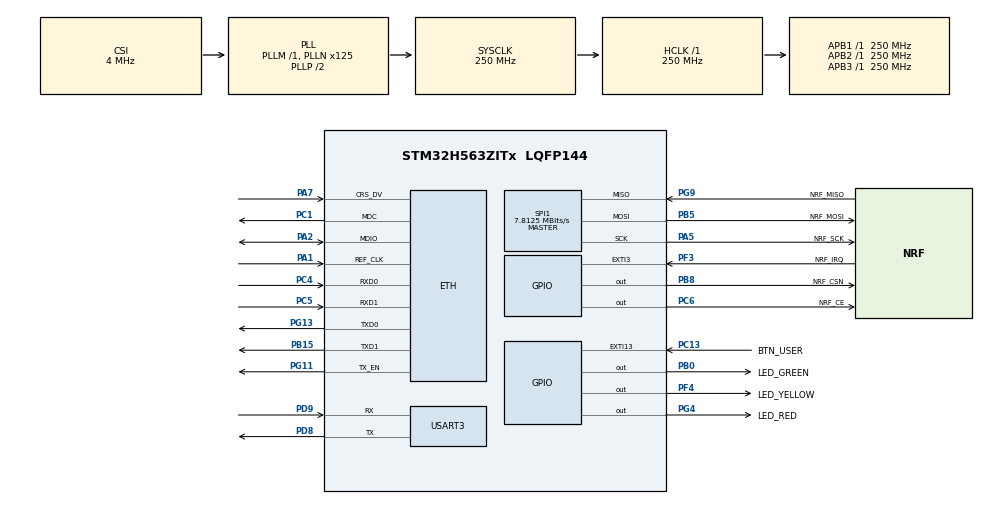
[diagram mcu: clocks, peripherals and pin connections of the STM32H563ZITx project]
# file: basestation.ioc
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CORTEX_M33_NS.userName=CORTEX_M33
ETH.MACAddr=00\:57\:00\:01\:33\:70
ETH.MediaInterface=HAL_ETH_RMII_MODE
Mcu.Family=STM32H5
Mcu.Name=STM32H563ZITx
Mcu.Package=LQFP144
NETXDUO.ETH_ON=1
NETXDUO.LAN_8742=1
NETXDUO.NX_APP_IP_INSTANCE_THREAD_SIZE=4 * 1024
NETXDUO.NX_APP_MEM_POOL_SIZE=30 * 1024
NETXDUO.NX_APP_THREAD_STACK_SIZE=2 * 1024
NETXDUO.NX_ENABLE_INTERFACE_CAPABILITY=true
NETXDUO.NetXDuo_Generate_Init_Code=true
NVIC.ETH_IRQn=true\:7\:0\:true\:false\:true\:false\:true\:true\:true
NVIC.EXTI13_IRQn=true\:7\:0\:true\:false\:true\:false\:true\:true\:true
NVIC.EXTI3_IRQn=true\:7\:0\:true\:false\:true\:false\:true\:true\:true
NVIC.PriorityGroup=NVIC_PRIORITYGROUP_4
NVIC.TIM6_IRQn=true\:15\:0\:false\:false\:true\:false\:false\:true\:true
NVIC.TimeBase=TIM6_IRQn
NVIC.TimeBaseIP=TIM6
NetXDuo.BSP.number=1
NetXDuo0.BSP.STBoard=false
NetXDuo0.BSP.api=BSP_COMPONENT_DRIVER
NetXDuo0.BSP.component=lan8742
NetXDuo0.BSP.instance=lan8742
NetXDuo0.BSP.name=LAN_Component
NetXDuo0.BSP.semaphore=SEMA_lan8742
NetXDuo0.BSP.solution=lan8742
PA1.Mode=RMII
PA1.Signal=ETH_REF_CLK
PA2.Mode=RMII
PA2.Signal=ETH_MDIO
PA5.GPIO_Label=NRF_SCK
PA5.Mode=Full_Duplex_Master
PA5.Signal=SPI1_SCK
PA7.Mode=RMII
PA7.Signal=ETH_CRS_DV
PB0.GPIO_Label=LED_GREEN
PB0.PinState=GPIO_PIN_SET
PB0.Signal=GPIO_Output
PB15.Mode=RMII
PB15.Signal=ETH_TXD1
PB5.GPIO_Label=NRF_MOSI
PB5.Mode=Full_Duplex_Master
PB5.Signal=SPI1_MOSI
PB8.GPIO_Label=NRF_CSN
PB8.Signal=GPIO_Output
PC1.Mode=RMII
PC1.Signal=ETH_MDC
PC13.GPIO_Label=BTN_USER
PC13.Signal=GPXTI13
PC4.Mode=RMII
PC4.Signal=ETH_RXD0
PC5.Mode=RMII
PC5.Signal=ETH_RXD1
PC6.GPIO_Label=NRF_CE
PC6.Signal=GPIO_Output
PD8.Mode=Asynchronous
PD8.Signal=USART3_TX
PD9.Mode=Asynchronous
PD9.Signal=USART3_RX
PF3.GPIO_Label=NRF_IRQ
PF3.GPIO_ModeDefaultEXTI=GPIO_MODE_IT_FALLING
PF3.Signal=GPXTI3
PF4.GPIO_Label=LED_YELLOW
PF4.Signal=GPIO_Output
PG11.Mode=RMII
PG11.Signal=ETH_TX_EN
PG13.Mode=RMII
PG13.Signal=ETH_TXD0
PG4.GPIO_Label=LED_RED
PG4.Signal=GPIO_Output
PG9.GPIO_Label=NRF_MISO
PG9.Mode=Full_Duplex_Master
PG9.Signal=SPI1_MISO
ProjectManager.HeapSize=0x200
ProjectManager.StackSize=0x1600
ProjectManager.TargetToolchain=STM32CubeIDE
RCC.ADCFreq_Value=250000000
RCC.AHBFreq_Value=250000000
RCC.APB1Freq_Value=250000000
RCC.APB1TimFreq_Value=250000000
RCC.APB2Freq_Value=250000000
RCC.APB2TimFreq_Value=250000000
RCC.APB3Freq_Value=250000000
RCC.CSI_VALUE=4000000
RCC.CortexFreq_Value=250000000
RCC.EPOD_VALUE=4000000
RCC.HCLKFreq_Value=250000000
RCC.HSE_VALUE=25000000
RCC.HSI48_VALUE=48000000
RCC.HSI_VALUE=64000000
RCC.LSE_VALUE=32768
RCC.LSIRC_VALUE=32000
RCC.PLL2FRACN=0
RCC.PLL3FRACN=0
RCC.PLLFRACN=0
RCC.PLLN=125
RCC.SYSCLKFreq_VALUE=250000000
RCC.SYSCLKSource=RCC_SYSCLKSOURCE_PLLCLK
RCC.USBFreq_Value=48000000
RCC.VCOOutputFreq_Value=500000000
SPI1.BaudRatePrescaler=SPI_BAUDRATEPRESCALER_32
SPI1.CalculateBaudRate=7.8125 MBits/s
SPI1.DataSize=SPI_DATASIZE_8BIT
SPI1.Direction=SPI_DIRECTION_2LINES
SPI1.Mode=SPI_MODE_MASTER
SPI1.NSSPMode=SPI_NSS_PULSE_ENABLE
SPI1.VirtualType=VM_MASTER
THREADX.TX_APP_GENERATE_INIT_CODE=true
THREADX.TX_APP_MEM_POOL_SIZE=4096
USART3.VirtualMode=VM_ASYNC
VP_BOOTPATH_VS_BOOTPATH.Mode=BP_Activate
VP_ICACHE_VS_ICACHE.Mode=DefaultMode
VP_MEMORYMAP_VS_MEMORYMAP.Mode=CurAppReg
VP_NETXDUO_VS_AddonsOoDHCP.Mode=Addons_DHCP_Client
VP_NETXDUO_VS_EthernetOoPhyOoInterface.Mode=LAN8742_Phy_Interface
VP_NETXDUO_VS_NXOoCore.Mode=NX_Core
VP_NETXDUO_VS_NetworkOoInterface.Mode=Ethernet_Interface
VP_PWR_VS_DBSignals.Mode=DisableDeadBatterySignals
VP_PWR_VS_LPOM.Mode=PowerOptimisation
VP_PWR_VS_SECSignals.Mode=Security/Privilege
VP_SYS_VS_tim6.Mode=TIM6
VP_THREADX_VS_RTOSJjThreadXJjCoreJjDefault.Mode=Core_Default
board=custom

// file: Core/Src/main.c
/* USER CODE BEGIN Header */
/**
 ******************************************************************************
 * @file           : main.c
 * @brief          : Main program body
 ******************************************************************************
 * @attention
 *
 * Copyright (c) 2023 STMicroelectronics.
 * All rights reserved.
 *
 * This software is licensed under terms that can be found in the LICENSE file
 * in the root directory of this software component.
 * If no LICENSE file comes with this software, it is provided AS-IS.
 *
 ******************************************************************************
 */
/* USER CODE END Header */
#include "main.h"
#include "app_threadx.h"
#include "string.h"

/* USER CODE BEGIN Includes */
#include "com.h"
#include "stdio.h"
#include <log.h>
/* USER CODE END Includes */

ETH_TxPacketConfig TxConfig;
ETH_DMADescTypeDef DMARxDscrTab[ETH_RX_DESC_CNT]; /* Ethernet Rx DMA Descriptors */
ETH_DMADescTypeDef DMATxDscrTab[ETH_TX_DESC_CNT]; /* Ethernet Tx DMA Descriptors */

ETH_HandleTypeDef heth;

SPI_HandleTypeDef hspi1;

UART_HandleTypeDef huart3;

/* USER CODE BEGIN PV */
static LOG_Module internal_log_mod;
/* USER CODE END PV */

void SystemClock_Config(void);
static void MX_GPIO_Init(void);
static void MX_MEMORYMAP_Init(void);
static void MX_ETH_Init(void);
static void MX_USART3_UART_Init(void);
static void MX_ICACHE_Init(void);
static void MX_SPI1_Init(void);

/* USER CODE BEGIN 0 */

void HAL_GPIO_EXTI_Rising_Callback(uint16_t GPIO_Pin)
{
    switch (GPIO_Pin) {
    case BTN_USER_Pin:
        tx_event_flags_set(&COM_RF_IRQ_Events, RF_EVENT_TEST, TX_OR);
        break;
    default:
        break;
    }
}

void HAL_GPIO_EXTI_Falling_Callback(uint16_t GPIO_Pin)
{
    switch (GPIO_Pin) {
    case NRF_IRQ_Pin:
        tx_event_flags_set(&COM_RF_IRQ_Events, RF_EVENT_IRQ, TX_OR);
        break;
    default:
        break;
    }
}

void IWDG_Init(void)
{
    /* Start the watchdog (this also turns the LSI on) */
    IWDG->KR = 0x0000CCCC;

    /* Enable write access to PR/RLR/WINR */
    IWDG->KR = 0x00005555;

    /* Prescaler 64: LSI 32 kHz / 64 = 500 Hz */
    IWDG->PR = IWDG_PR_PR_2;

    /* Reload 2000 -> ~4 s timeout */
    IWDG->RLR = 2000;

    /* Wait for PR/RLR updates to complete */
    while ((IWDG->SR & IWDG_SR_RVU) != 0) {
    }
    while ((IWDG->SR & (IWDG_SR_PVU | IWDG_SR_RVU | IWDG_SR_WVU)) != 0) {
    }

    /* Disable the window feature */
    IWDG->WINR = IWDG_WINR_WIN;

    /* Freeze the watchdog counter when the core is halted in debug */
    DBGMCU->APB1FZR1 |= DBGMCU_APB1FZR1_DBG_IWDG_STOP;
}

void IWDG_Feed(void)
{
    IWDG->KR = 0x0000AAAA;
}

/* USER CODE END 0 */

int main(void)
{

    /* MCU Configuration--------------------------------------------------------*/

    /* Reset of all peripherals, Initializes the Flash interface and the Systick. */
    HAL_Init();

    /* Configure the system clock */
    SystemClock_Config();

    /* Initialize all configured peripherals */
    MX_GPIO_Init();
    MX_MEMORYMAP_Init();
    MX_ETH_Init();
    MX_USART3_UART_Init();
    MX_ICACHE_Init();
    MX_SPI1_Init();
    /* USER CODE BEGIN 2 */
    IWDG_Init();
    LOG_Init(&huart3);
    LOG_InitModule(&internal_log_mod, "MAIN", LOG_LEVEL_INFO, 0);
    COM_RF_Init(&hspi1);
    LOG_INFO("Startup finished...\r\n");

    /* USER CODE END 2 */

    MX_ThreadX_Init();

    /* We should never get here as control is now taken by the scheduler */
    /* Infinite loop */
    while (1) {

    }
}

void SystemClock_Config(void)
{
    RCC_OscInitTypeDef RCC_OscInitStruct = {0};
    RCC_ClkInitTypeDef RCC_ClkInitStruct = {0};

    /** Configure the main internal regulator output voltage
     */
    __HAL_PWR_VOLTAGESCALING_CONFIG(PWR_REGULATOR_VOLTAGE_SCALE0);

    while (!__HAL_PWR_GET_FLAG(PWR_FLAG_VOSRDY)) {
    }

    /** Initializes the RCC Oscillators according to the specified parameters
     * in the RCC_OscInitTypeDef structure.
     */
    RCC_OscInitStruct.OscillatorType = RCC_OSCILLATORTYPE_CSI;
    RCC_OscInitStruct.CSIState = RCC_CSI_ON;
    RCC_OscInitStruct.CSICalibrationValue = RCC_CSICALIBRATION_DEFAULT;
    RCC_OscInitStruct.PLL.PLLState = RCC_PLL_ON;
    RCC_OscInitStruct.PLL.PLLSource = RCC_PLL1_SOURCE_CSI;
    RCC_OscInitStruct.PLL.PLLM = 1;
    RCC_OscInitStruct.PLL.PLLN = 125;
    RCC_OscInitStruct.PLL.PLLP = 2;
    RCC_OscInitStruct.PLL.PLLQ = 2;
    RCC_OscInitStruct.PLL.PLLR = 2;
    RCC_OscInitStruct.PLL.PLLRGE = RCC_PLL1_VCIRANGE_2;
    RCC_OscInitStruct.PLL.PLLVCOSEL = RCC_PLL1_VCORANGE_WIDE;
    RCC_OscInitStruct.PLL.PLLFRACN = 0;
    if (HAL_RCC_OscConfig(&RCC_OscInitStruct) != HAL_OK) {
        Error_Handler();
    }

    /** Initializes the CPU, AHB and APB buses clocks
     */
    RCC_ClkInitStruct.ClockType = RCC_CLOCKTYPE_HCLK | RCC_CLOCKTYPE_SYSCLK | RCC_CLOCKTYPE_PCLK1 | RCC_CLOCKTYPE_PCLK2 | RCC_CLOCKTYPE_PCLK3;
    RCC_ClkInitStruct.SYSCLKSource = RCC_SYSCLKSOURCE_PLLCLK;
    RCC_ClkInitStruct.AHBCLKDivider = RCC_SYSCLK_DIV1;
    RCC_ClkInitStruct.APB1CLKDivider = RCC_HCLK_DIV1;
    RCC_ClkInitStruct.APB2CLKDivider = RCC_HCLK_DIV1;
    RCC_ClkInitStruct.APB3CLKDivider = RCC_HCLK_DIV1;

    if (HAL_RCC_ClockConfig(&RCC_ClkInitStruct, FLASH_LATENCY_5) != HAL_OK) {
        Error_Handler();
    }
}

static void MX_ETH_Init(void)
{

    static uint8_t MACAddr[6];

    heth.Instance = ETH;
    MACAddr[0] = 0x00;
    MACAddr[1] = 0x57;
    MACAddr[2] = 0x00;
    MACAddr[3] = 0x01;
    MACAddr[4] = 0x33;
    MACAddr[5] = 0x70;
    heth.Init.MACAddr = &MACAddr[0];
    heth.Init.MediaInterface = HAL_ETH_RMII_MODE;
    heth.Init.TxDesc = DMATxDscrTab;
    heth.Init.RxDesc = DMARxDscrTab;
    heth.Init.RxBuffLen = 1524;

    if (HAL_ETH_Init(&heth) != HAL_OK) {
        Error_Handler();
    }

    memset(&TxConfig, 0, sizeof(ETH_TxPacketConfig));
    TxConfig.Attributes = ETH_TX_PACKETS_FEATURES_CSUM | ETH_TX_PACKETS_FEATURES_CRCPAD;
    TxConfig.ChecksumCtrl = ETH_CHECKSUM_IPHDR_PAYLOAD_INSERT_PHDR_CALC;
    TxConfig.CRCPadCtrl = ETH_CRC_PAD_INSERT;
}

static void MX_ICACHE_Init(void)
{

    /** Enable instruction cache (default 2-ways set associative cache)
     */
    if (HAL_ICACHE_Enable() != HAL_OK) {
        Error_Handler();
    }
}

static void MX_MEMORYMAP_Init(void)
{

}

static void MX_SPI1_Init(void)
{

    /* SPI1 parameter configuration*/
    hspi1.Instance = SPI1;
    hspi1.Init.Mode = SPI_MODE_MASTER;
    hspi1.Init.Direction = SPI_DIRECTION_2LINES;
    hspi1.Init.DataSize = SPI_DATASIZE_8BIT;
    hspi1.Init.CLKPolarity = SPI_POLARITY_LOW;
    hspi1.Init.CLKPhase = SPI_PHASE_1EDGE;
    hspi1.Init.NSS = SPI_NSS_SOFT;
    hspi1.Init.BaudRatePrescaler = SPI_BAUDRATEPRESCALER_32;
    hspi1.Init.FirstBit = SPI_FIRSTBIT_MSB;
    hspi1.Init.TIMode = SPI_TIMODE_DISABLE;
    hspi1.Init.CRCCalculation = SPI_CRCCALCULATION_DISABLE;
    hspi1.Init.CRCPolynomial = 0x7;
    hspi1.Init.NSSPMode = SPI_NSS_PULSE_ENABLE;
    hspi1.Init.NSSPolarity = SPI_NSS_POLARITY_LOW;
    hspi1.Init.FifoThreshold = SPI_FIFO_THRESHOLD_01DATA;
    hspi1.Init.MasterSSIdleness = SPI_MASTER_SS_IDLENESS_00CYCLE;
    hspi1.Init.MasterInterDataIdleness = SPI_MASTER_INTERDATA_IDLENESS_00CYCLE;
    hspi1.Init.MasterReceiverAutoSusp = SPI_MASTER_RX_AUTOSUSP_DISABLE;
    hspi1.Init.MasterKeepIOState = SPI_MASTER_KEEP_IO_STATE_DISABLE;
    hspi1.Init.IOSwap = SPI_IO_SWAP_DISABLE;
    hspi1.Init.ReadyMasterManagement = SPI_RDY_MASTER_MANAGEMENT_INTERNALLY;
    hspi1.Init.ReadyPolarity = SPI_RDY_POLARITY_HIGH;
    if (HAL_SPI_Init(&hspi1) != HAL_OK) {
        Error_Handler();
    }
}

static void MX_USART3_UART_Init(void)
{

    huart3.Instance = USART3;
    huart3.Init.BaudRate = 115200;
    huart3.Init.WordLength = UART_WORDLENGTH_8B;
    huart3.Init.StopBits = UART_STOPBITS_1;
    huart3.Init.Parity = UART_PARITY_NONE;
    huart3.Init.Mode = UART_MODE_TX_RX;
    huart3.Init.HwFlowCtl = UART_HWCONTROL_NONE;
    huart3.Init.OverSampling = UART_OVERSAMPLING_16;
    huart3.Init.OneBitSampling = UART_ONE_BIT_SAMPLE_DISABLE;
    huart3.Init.ClockPrescaler = UART_PRESCALER_DIV1;
    huart3.AdvancedInit.AdvFeatureInit = UART_ADVFEATURE_NO_INIT;
    if (HAL_UART_Init(&huart3) != HAL_OK) {
        Error_Handler();
    }
    if (HAL_UARTEx_SetTxFifoThreshold(&huart3, UART_TXFIFO_THRESHOLD_1_8) != HAL_OK) {
        Error_Handler();
    }
    if (HAL_UARTEx_SetRxFifoThreshold(&huart3, UART_RXFIFO_THRESHOLD_1_8) != HAL_OK) {
        Error_Handler();
    }
    if (HAL_UARTEx_DisableFifoMode(&huart3) != HAL_OK) {
        Error_Handler();
    }
}

static void MX_GPIO_Init(void)
{
    GPIO_InitTypeDef GPIO_InitStruct = {0};

    /* GPIO Ports Clock Enable */
    __HAL_RCC_GPIOC_CLK_ENABLE();
    __HAL_RCC_GPIOF_CLK_ENABLE();
    __HAL_RCC_GPIOA_CLK_ENABLE();
    __HAL_RCC_GPIOB_CLK_ENABLE();
    __HAL_RCC_GPIOD_CLK_ENABLE();
    __HAL_RCC_GPIOG_CLK_ENABLE();

    /*Configure GPIO pin Output Level */
    HAL_GPIO_WritePin(LED_YELLOW_GPIO_Port, LED_YELLOW_Pin, GPIO_PIN_RESET);

    /*Configure GPIO pin Output Level */
    HAL_GPIO_WritePin(LED_GREEN_GPIO_Port, LED_GREEN_Pin, GPIO_PIN_SET);

    /*Configure GPIO pin Output Level */
    HAL_GPIO_WritePin(LED_RED_GPIO_Port, LED_RED_Pin, GPIO_PIN_RESET);

    /*Configure GPIO pin Output Level */
    HAL_GPIO_WritePin(NRF_CE_GPIO_Port, NRF_CE_Pin, GPIO_PIN_RESET);

    /*Configure GPIO pin Output Level */
    HAL_GPIO_WritePin(NRF_CSN_GPIO_Port, NRF_CSN_Pin, GPIO_PIN_RESET);

    /*Configure GPIO pin : BTN_USER_Pin */
    GPIO_InitStruct.Pin = BTN_USER_Pin;
    GPIO_InitStruct.Mode = GPIO_MODE_IT_RISING;
    GPIO_InitStruct.Pull = GPIO_NOPULL;
    HAL_GPIO_Init(BTN_USER_GPIO_Port, &GPIO_InitStruct);

    /*Configure GPIO pin : NRF_IRQ_Pin */
    GPIO_InitStruct.Pin = NRF_IRQ_Pin;
    GPIO_InitStruct.Mode = GPIO_MODE_IT_FALLING;
    GPIO_InitStruct.Pull = GPIO_NOPULL;
    HAL_GPIO_Init(NRF_IRQ_GPIO_Port, &GPIO_InitStruct);

    /*Configure GPIO pin : LED_YELLOW_Pin */
    GPIO_InitStruct.Pin = LED_YELLOW_Pin;
    GPIO_InitStruct.Mode = GPIO_MODE_OUTPUT_PP;
    GPIO_InitStruct.Pull = GPIO_NOPULL;
    GPIO_InitStruct.Speed = GPIO_SPEED_FREQ_LOW;
    HAL_GPIO_Init(LED_YELLOW_GPIO_Port, &GPIO_InitStruct);

    /*Configure GPIO pins : LED_GREEN_Pin NRF_CSN_Pin */
    GPIO_InitStruct.Pin = LED_GREEN_Pin | NRF_CSN_Pin;
    GPIO_InitStruct.Mode = GPIO_MODE_OUTPUT_PP;
    GPIO_InitStruct.Pull = GPIO_NOPULL;
    GPIO_InitStruct.Speed = GPIO_SPEED_FREQ_LOW;
    HAL_GPIO_Init(GPIOB, &GPIO_InitStruct);

    /*Configure GPIO pin : LED_RED_Pin */
    GPIO_InitStruct.Pin = LED_RED_Pin;
    GPIO_InitStruct.Mode = GPIO_MODE_OUTPUT_PP;
    GPIO_InitStruct.Pull = GPIO_NOPULL;
    GPIO_InitStruct.Speed = GPIO_SPEED_FREQ_LOW;
    HAL_GPIO_Init(LED_RED_GPIO_Port, &GPIO_InitStruct);

    /*Configure GPIO pin : NRF_CE_Pin */
    GPIO_InitStruct.Pin = NRF_CE_Pin;
    GPIO_InitStruct.Mode = GPIO_MODE_OUTPUT_PP;
    GPIO_InitStruct.Pull = GPIO_NOPULL;
    GPIO_InitStruct.Speed = GPIO_SPEED_FREQ_LOW;
    HAL_GPIO_Init(NRF_CE_GPIO_Port, &GPIO_InitStruct);

    /* EXTI interrupt init*/
    HAL_NVIC_SetPriority(EXTI3_IRQn, 7, 0);
    HAL_NVIC_EnableIRQ(EXTI3_IRQn);

    HAL_NVIC_SetPriority(EXTI13_IRQn, 7, 0);
    HAL_NVIC_EnableIRQ(EXTI13_IRQn);

}

void HAL_TIM_PeriodElapsedCallback(TIM_HandleTypeDef* htim)
{
    if (htim->Instance == TIM6) {
        HAL_IncTick();
    }
}

void Error_Handler(void)
{
    /* USER CODE BEGIN Error_Handler_Debug */
    HAL_GPIO_WritePin(LED_RED_GPIO_Port, LED_RED_Pin, GPIO_PIN_SET);
    __disable_irq();
    while (1) {
    }
    /* USER CODE END Error_Handler_Debug */
}
